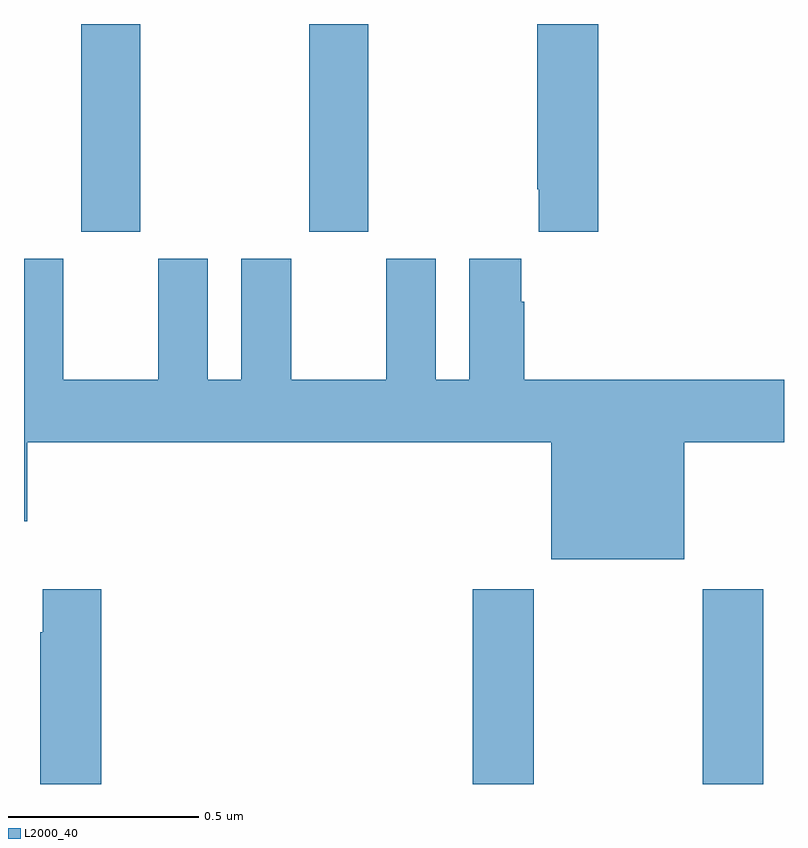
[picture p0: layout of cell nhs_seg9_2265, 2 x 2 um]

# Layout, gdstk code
import gdstk
lib = gdstk.Library(unit=1e-6, precision=1e-09)
def R(c, l, rs):  # rectangles x0, y0, x1, y1
    for r in rs: c.add(gdstk.rectangle(r[:2], r[2:], *l))
def P(c, l, *ps):  # polygons
    for p in ps: c.add(gdstk.Polygon(p, *l))
L2000_40 = (2000, 40)

nhs_seg9_2265 = lib.new_cell('nhs_seg9_2265')
R(nhs_seg9_2265, L2000_40, [(139.181,1215.5,139.341,1216.012), (139.786,1215.5,139.946,1216.012), (138.151,1216.953,138.306,1217.5), (138.751,1216.953,138.906,1217.5)])
P(nhs_seg9_2265, L2000_40, [(139.511,1217.5),(139.351,1217.5),(139.351,1217.065),(139.355,1217.065),(139.355,1216.953),(139.511,1216.953)],
  [(139.738,1216.4),(140,1216.4),(140,1216.564),(139.316,1216.564),(139.316,1216.769),(139.309,1216.769),(139.309,1216.882),(139.172,1216.882),(139.172,1216.564),(139.084,1216.564),(139.084,1216.882),(138.953,1216.882),(138.953,1216.564),(138.703,1216.564),(138.703,1216.882),(138.572,1216.882),(138.572,1216.564),(138.484,1216.564),(138.484,1216.882),(138.353,1216.882),(138.353,1216.564),(138.103,1216.564),(138.103,1216.882),(138,1216.882),(138,1216.192),(138.008,1216.192),(138.008,1216.4),(139.388,1216.4),(139.388,1216.091),(139.738,1216.091)],
  [(138.203,1216.012),(138.049,1216.012),(138.049,1215.899),(138.043,1215.899),(138.043,1215.5),(138.203,1215.5)])

lib.write_gds('nhs_seg9_2265.gds')
